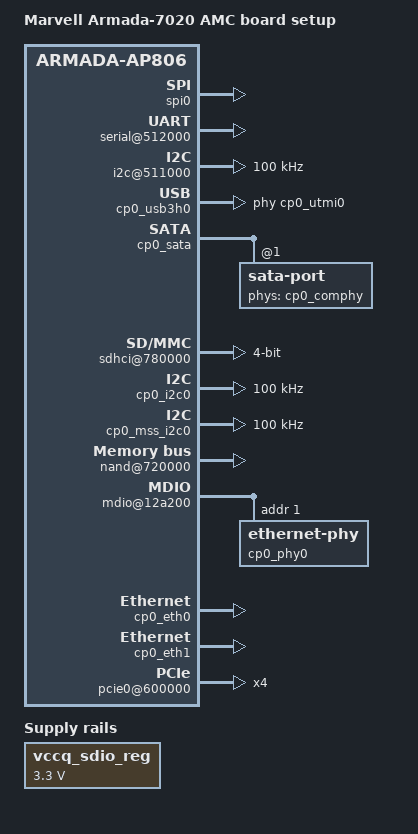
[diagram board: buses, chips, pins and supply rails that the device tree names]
/*
 * Copyright (C) 2016 Marvell Technology Group Ltd.
 *
 * This file is dual-licensed: you can use it either under the terms
 * of the GPLv2 or the X11 license, at your option. Note that this dual
 * licensing only applies to this file, and not this project as a
 * whole.
 *
 *  a) This library is free software; you can redistribute it and/or
 *     modify it under the terms of the GNU General Public License as
 *     published by the Free Software Foundation; either version 2 of the
 *     License, or (at your option) any later version.
 *
 *     This library is distributed in the hope that it will be useful,
 *     but WITHOUT ANY WARRANTY; without even the implied warranty of
 *     MERCHANTABILITY or FITNESS FOR A PARTICULAR PURPOSE.  See the
 *     GNU General Public License for more details.
 *
 * Or, alternatively,
 *
 *  b) Permission is hereby granted, free of charge, to any person
 *     obtaining a copy of this software and associated documentation
 *     files (the "Software"), to deal in the Software without
 *     restriction, including without limitation the rights to use,
 *     copy, modify, merge, publish, distribute, sublicense, and/or
 *     sell copies of the Software, and to permit persons to whom the
 *     Software is furnished to do so, subject to the following
 *     conditions:
 *
 *     The above copyright notice and this permission notice shall be
 *     included in all copies or substantial portions of the Software.
 *
 *     THE SOFTWARE IS PROVIDED "AS IS", WITHOUT WARRANTY OF ANY KIND,
 *     EXPRESS OR IMPLIED, INCLUDING BUT NOT LIMITED TO THE WARRANTIES
 *     OF MERCHANTABILITY, FITNESS FOR A PARTICULAR PURPOSE AND
 *     NONINFRINGEMENT. IN NO EVENT SHALL THE AUTHORS OR COPYRIGHT
 *     HOLDERS BE LIABLE FOR ANY CLAIM, DAMAGES OR OTHER LIABILITY,
 *     WHETHER IN AN ACTION OF CONTRACT, TORT OR OTHERWISE, ARISING
 *     FROM, OUT OF OR IN CONNECTION WITH THE SOFTWARE OR THE USE OR
 *     OTHER DEALINGS IN THE SOFTWARE.
 */

/*
 * Device Tree file for Marvell Armada 7020 AMC board
 * This board file supports the AMC board configuration
 */

#include "armada-7020.dtsi"

/ {
	model = "Marvell Armada-7020 AMC board setup";
	compatible = "marvell,armada7020-amc", "marvell,armada7020",
			"marvell,armada-ap806";

	#address-cells = <2>;
	#size-cells = <2>;

	chosen { };

	aliases {
		ethernet0 = &cp0_emac0;
		ethernet1 = &cp0_emac2;
	};

	ap806 {
		config-space {
			spi0: spi@510600 {
				status = "okay";
			};

			serial@512000 {
				status = "okay";
			};

			i2c@511000 {
				status = "okay";
				clock-frequency = <100000>;
			};
		};
	};

	cp0 {
		config-space {
			pinctrl@440000 {
				i2c1_pins: i2c-pins-1 {
					marvell,pins = "mpp50", "mpp51";
					marvell,function = "i2c1";
				};

			};

			cp0_usb3h0: usb3@500000 {
				phys = <&cp0_utmi0>;
				phy-names = "usb";
				status = "okay";
			};

			cp0_sata: sata@540000 {
				status = "okay";

				sata-port@1 {
					phys = <&cp0_comphy 5 COMPHY_SATA1>;
					phy-names = "comphy";
					status = "okay";
				};
			};

			sdhci@780000 {
				vqmmc-supply = <&vccq_sdio_reg>;
				bus-width = <4>;
				no-1-8-v;
				broken-cd;
				pinctrl-names = "default";
				pinctrl-0 = <&cp0_sdhci_pins>;
				status = "okay";
			};

			cp0_i2c0: i2c@701000 {
				status = "okay";
				clock-frequency = <100000>;
			};

			cp0_mss_i2c0: i2c@211000 {
				status = "okay";
				clock-frequency = <100000>;
			};

			nand@720000 {
				status = "okay";
			};

			mdio@12a200 {
				#address-cells = <1>;
				#size-cells = <0>;
				status = "okay";
				cp0_phy0: ethernet-phy@1 {
					reg = <1>;
				};
			};

			gop {
				cp0_emac0: mac0 {
					phy-mode = "sfi"; /*lane-4*/
					phys = <&cp0_comphy 4 COMPHY_SFI0>;
					phy-names = "comphy";
				};
				cp0_emac2: mac2 {
					phy-mode = "rgmii"; /* rgmii-1 */
					phy = <&cp0_phy0>;
				};
				cp0_emac3: mac3 {
					phy-mode = "none";
				};
			};

			ppv22@000000 {
				cp0_eth0: eth0@010000 {
					status = "okay";
				};

				cp0_eth1: eth1@020000 {
					status = "okay";
				};
			};

			comphy {
				skip_pcie_power_off;
			};

			cp0_utmi0: utmi@580000 {
				status = "okay";
			};
		};

		pcie0@600000 {
			/* Overwrite the PCIe config address up to 8GB */
			ranges = <0x81000000 0 0xfa000000 0   0xfa000000 0   0x10000 /* downstream I/O */
				  0x82000000 0 0x0        0x8 0x0         0x2 0x0>; /* non-prefetchable memory */
			num-lanes = <4>;
			status = "okay";
		};
		vccq_sdio_reg: regulator@1 {
			compatible = "regulator-fixed";
			regulator-name = "vccq-sdio-reg";
			regulator-min-microvolt = <3300000>;
			regulator-max-microvolt = <3300000>;
			regulator-always-on;
			status = "okay";
		};
	};
};
